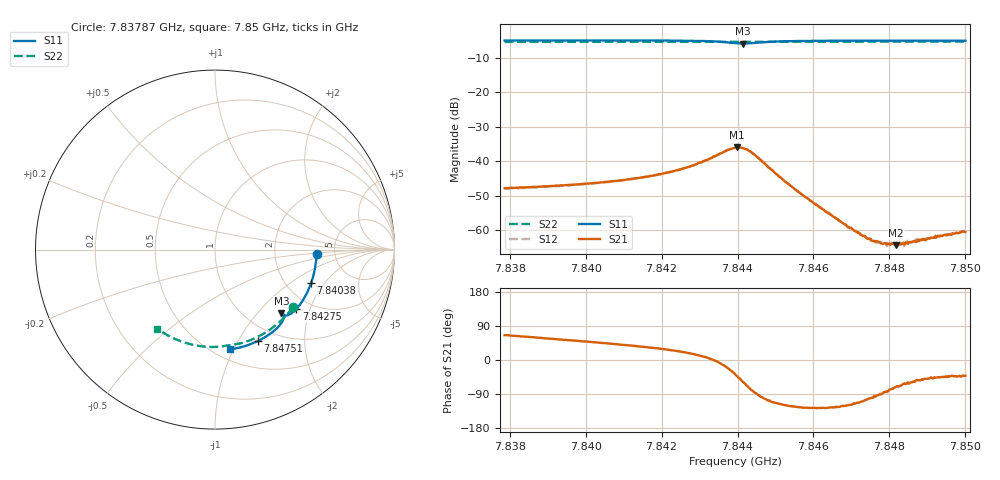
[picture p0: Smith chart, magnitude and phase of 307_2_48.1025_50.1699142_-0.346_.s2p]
#  HZ  S  RI  R  50.00
! Rohde & Schwarz Vector Network Analyzer
! Rohde-Schwarz,ZNB20-2Port,1311601062101988,3.16
! Created: UTC 12/23/2023, 4:05:23 AM
! freq[Hz]  re:S11  im:S11  re:S21  im:S21  re:S12  im:S12  re:S22  im:S22
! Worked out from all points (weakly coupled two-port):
!   401 points, 7.83787 GHz to 7.85 GHz, reference 50 ohm
!   highest |S21| = -35.97 dB at 7.84399 GHz (marker M1); lowest = -64.5 dB at 7.84818 GHz (marker M2)
!   lowest |S11| = -5.8 dB at 7.84415 GHz (marker M3), VSWR 3.10, Z = 70.7 - j67.8 ohm
!   |S11| at or under -10 dB: nowhere
!   |S22| runs from -5.4 to -5.3 dB; largest |S21 - S12| = 0.00034
!   S11 on the Smith chart (normalised r, x): 7.83787 GHz: 3.60, -0.23; 7.84038 GHz: 2.70, -1.49; 7.84275 GHz: 1.68, -1.62; 7.84751 GHz: 0.82, -1.22; 7.85 GHz: 0.59, -0.96
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7.837867e9  0.5661 -0.0218  0.00168 0.00369  0.00167 0.0036  0.4344 -0.3206
7.839899e9  0.5452 -0.1557  0.00303 0.00354  0.00296 0.00352  0.3362 -0.4234
7.840385e9  0.5351 -0.1869  0.00345 0.00351  0.00338 0.00344  0.3089 -0.4438
7.841932e9  0.4893 -0.2831  0.00558 0.00328  0.00553 0.00322  0.2145 -0.4971
7.842751e9  0.4531 -0.3312  0.00801 0.00252  0.00798 0.00254  0.1603 -0.5171
7.843479e9  0.4055 -0.3655  0.0124 -0.000973  0.0123 -0.00107  0.1104 -0.5291
7.843934e9  0.3721 -0.3622  0.0125 -0.00945  0.0125 -0.00937  0.0801 -0.5329
7.843994e9  0.3702 -0.3597  0.0117 -0.0108  0.0116 -0.0108  0.0761 -0.5334
7.844146e9  0.3702 -0.3537  0.00816 -0.0131  0.00814 -0.0132  0.0669 -0.5346
7.844388e9  0.3791 -0.3556  0.00213 -0.013  0.002 -0.013  0.0515 -0.5373
7.845329e9  0.3632 -0.418  -0.0024 -0.00406  -0.0024 -0.00405  -0.0143 -0.5427
7.845966e9  0.3304 -0.4513  -0.00153 -0.00206  -0.00155 -0.00209  -0.0593 -0.5405
7.846876e9  0.2786 -0.4881  -0.00057 -0.000999  -0.000568 -0.00101  -0.1223 -0.5302
7.847513e9  0.2403 -0.5088  -0.00013 -0.000695  -0.000133 -0.000734  -0.1657 -0.5187
7.847634e9  0.2329 -0.5124  -7.62e-05 -0.000691  -0.000103 -0.000651  -0.174 -0.5162
7.847786e9  0.2236 -0.5165  -6.3e-06 -0.000641  2.4e-05 -0.000664  -0.1837 -0.5128
7.847907e9  0.216 -0.5197  8.21e-05 -0.000642  6.72e-05 -0.000616  -0.1919 -0.5099
7.847998e9  0.2105 -0.5221  0.000126 -0.000618  0.000132 -0.000604  -0.198 -0.5077
7.84818e9  0.1991 -0.5265  0.000206 -0.000561  0.000213 -0.00062  -0.2097 -0.5031
7.848574e9  0.1741 -0.5352  0.000349 -0.000575  0.000368 -0.000552  -0.2351 -0.4918
7.848878e9  0.1546 -0.5413  0.000451 -0.000594  0.000459 -0.000602  -0.2541 -0.4826
7.85e9  0.0815 -0.5565  0.000703 -0.000625  0.000694 -0.000626  -0.3213 -0.4415
